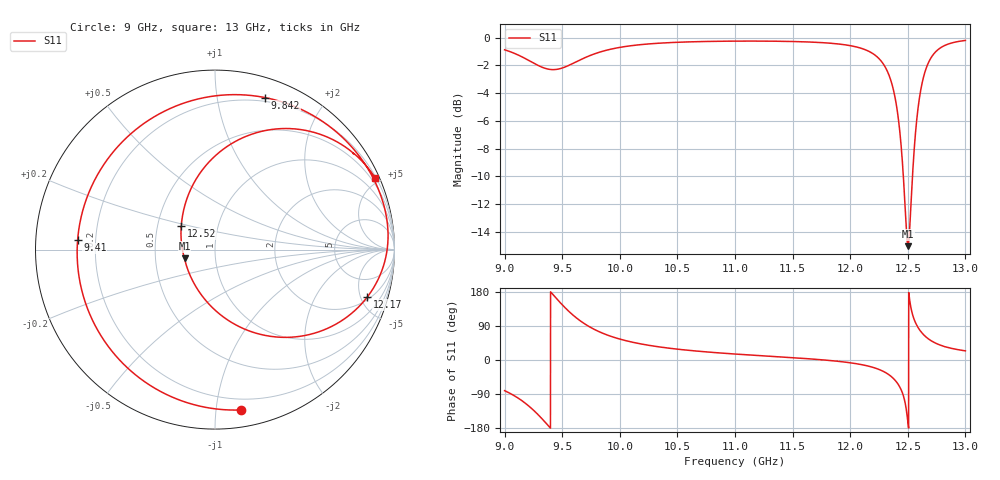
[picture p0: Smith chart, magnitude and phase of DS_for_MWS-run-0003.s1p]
! TOUCHSTONE file generated by CST DESIGN STUDIO
! Date and time: Tue Feb  4 17:37:49 2025
! Project name: C:\Work\MatlabApps\UnitCellOptimizationMatlab\CST\unitcell.cst
! Tree item: Tasks\Sweep1\SPara1\S-Parameters
! Header version: 2024
! Port assignment regex: !\s*Touchstone port\s*([0-9]+)\s*=\s*(CST MWS port|CST DES external port|CST DES block port)\s*(.+)\s* \(\"(.*)\"\)(\s*mode\s*([0-9]+))?.*
! Touchstone port assignment:
! Touchstone port 1 = CST DES external port 1 ("")
# GHz S MA R 50
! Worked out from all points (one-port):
!   4001 points, 9 GHz to 13 GHz, reference 50 ohm
!   lowest |S11| = -15.1 dB at 12.5 GHz (marker M1), VSWR 1.43, Z = 35.3 - j3.55 ohm
!   |S11| at or under -10 dB: 12.46 GHz to 12.54 GHz (79.37 MHz wide, 0.635 % of centre)
!   S11 on the Smith chart (normalised r, x): 9 GHz: 0.12, -1.17; 9.41 GHz: 0.13, +0.03; 9.842 GHz: 0.17, +1.37; 12.17 GHz: 2.27, -5.71; 12.52 GHz: 0.66, +0.18; 13 GHz: 0.26, +4.66
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9  0.9048 -80.9
9.115  0.8673 -100.1
9.21  0.828 -121.5
9.321  0.784 -153.8
9.41  0.7673 176.0
9.5  0.7773 145.8
9.574  0.8007 123.8
9.65  0.8296 104.8
9.736  0.8607 87.8
9.842  0.8916 71.8
10  0.923 55.2
10.216  0.9473 40.6
10.5  0.963 28.6
11  0.9724 15.7
11.5  0.9692 6.1
12  0.9365 -7.3
12.172  0.8889 -17.2
12.301  0.7876 -32.2
12.397  0.5848 -56.1
12.449  0.3757 -83.3
12.5  0.177 -161.5
12.501  0.1767 -164.0
12.523  0.2296 145.0
12.584  0.5348 88.4
12.646  0.7454 64.1
12.71  0.857 49.5
12.783  0.9192 39.2
13  0.9777 24.2
